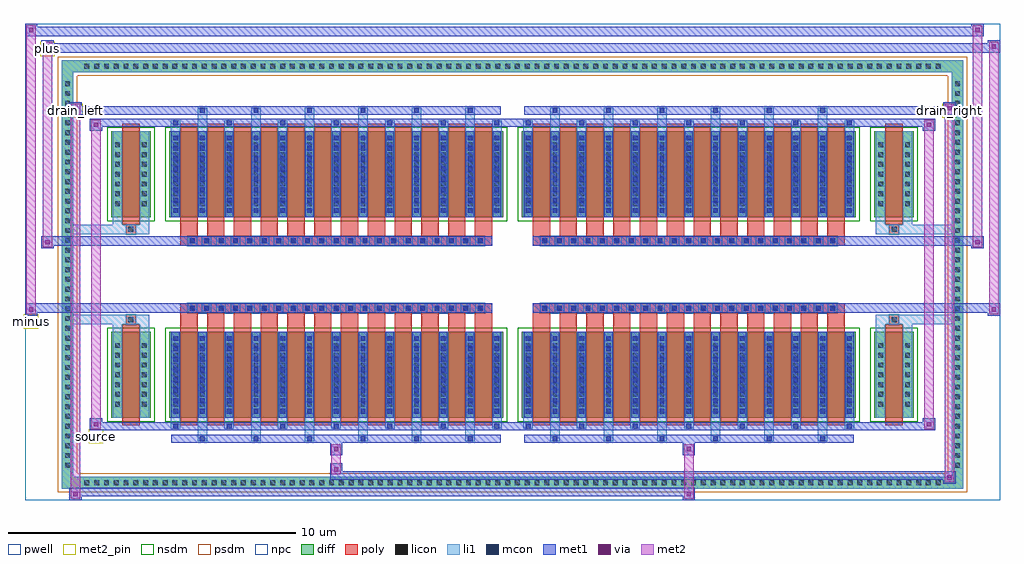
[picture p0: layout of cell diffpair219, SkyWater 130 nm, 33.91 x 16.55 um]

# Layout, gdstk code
import gdstk
lib = gdstk.Library(unit=1e-6, precision=5e-09)
def R(c, l, rs):  # rectangles x0, y0, x1, y1
    for r in rs: c.add(gdstk.rectangle(r[:2], r[2:], *l))
def A(c, l, x, y, w, h, nx, ny, dx, dy):  # array of equal rectangles
    R(c, l, [(x+i*dx, y+j*dy, x+i*dx+w, y+j*dy+h) for i in range(nx) for j in range(ny)])
def P(c, l, *ps):  # polygons
    for p in ps: c.add(gdstk.Polygon(p, *l))
pwell = (64, 44)
diff = (65, 20)
poly = (66, 20)
licon = (66, 44)
li1 = (67, 20)
mcon = (67, 44)
met1 = (68, 20)
via = (68, 44)
met2_pin = (69, 16)
met2 = (69, 20)
nsdm = (93, 44)
psdm = (94, 20)
npc = (95, 20)

diffpair219 = lib.new_cell('diffpair219')
R(diffpair219, pwell, [(-16.94,-7.84,16.94,8.71), (-14.26,-6.03,-0.01,-0.805), (0.01,-6.03,14.26,-0.805), (-14.26,0.805,-0.01,6.03), (0.01,0.805,14.26,6.03)])
A(diffpair219, diff, -14.995, -7.44, 0.41, 0.41, 88, 2, 0.34, 14.47)
A(diffpair219, diff, -15.67, -6.835, 0.41, 0.41, 1, 40, 0, 0.34)
A(diffpair219, diff, 15.26, -6.835, 0.41, 0.41, 1, 40, 0, 0.34)
R(diffpair219, diff, [(-14.995,-7.44,14.995,-7.03), (-15.67,-6.835,-15.26,6.835), (15.26,-6.835,15.67,6.835), (-13.95,-4.985,-12.57,-1.985), (-11.93,-4.985,-0.32,-1.985), (0.32,-4.985,11.93,-1.985), (12.57,-4.985,13.95,-1.985), (-13.95,1.985,-12.57,4.985), (-11.93,1.985,-0.32,4.985), (0.32,1.985,11.93,4.985), (12.57,1.985,13.95,4.985), (-14.995,7.03,14.995,7.44)])
P(diffpair219, diff, [(15.67,7.44),(-15.67,7.44),(-15.67,-7.03),(-15.26,-7.03),(-15.26,7.03),(15.26,7.03),(15.26,-7.03),(-15.26,-7.03),(-15.67,-7.03),(-15.67,-7.44),(15.67,-7.44)])
A(diffpair219, poly, -11.54, -5.235, 0.6, 3.5, 12, 2, 0.93, 6.97)
A(diffpair219, poly, 0.71, -5.235, 0.6, 3.5, 12, 2, 0.93, 6.97)
A(diffpair219, poly, -11.54, -1.735, 0.6, 0.4, 12, 2, 0.93, 3.07)
A(diffpair219, poly, 0.71, -1.735, 0.6, 0.4, 12, 2, 0.93, 3.07)
A(diffpair219, poly, -11.29, -1.335, 0.33, 0.33, 21, 2, 0.5, 2.34)
A(diffpair219, poly, 0.96, -1.335, 0.33, 0.33, 21, 2, 0.5, 2.34)
R(diffpair219, poly, [(-13.56,-5.235,-12.96,-1.735), (12.96,-5.235,13.56,-1.735), (-13.425,-1.735,-13.095,-1.405), (-13.425,-1.735,-13.095,-1.405), (13.095,-1.735,13.425,-1.405), (13.095,-1.735,13.425,-1.405), (-11.54,-1.335,-0.71,-1.005), (0.71,-1.335,11.54,-1.005), (-11.54,1.005,-0.71,1.335), (0.71,1.005,11.54,1.335), (-13.425,1.405,-13.095,1.735), (-13.425,1.405,-13.095,1.735), (13.095,1.405,13.425,1.735), (13.095,1.405,13.425,1.735), (-13.56,1.735,-12.96,5.235), (12.96,1.735,13.56,5.235)])
A(diffpair219, licon, -14.875, -7.32, 0.17, 0.17, 88, 2, 0.34, 14.47)
A(diffpair219, licon, -15.55, -6.715, 0.17, 0.17, 1, 40, 0, 0.34)
A(diffpair219, licon, 15.38, -6.715, 0.17, 0.17, 1, 40, 0, 0.34)
A(diffpair219, licon, -13.81, -4.59, 0.17, 0.17, 1, 7, 0, 0.34)
A(diffpair219, licon, -12.88, -4.59, 0.17, 0.17, 1, 7, 0, 0.34)
A(diffpair219, licon, -11.79, -4.59, 0.17, 0.17, 13, 7, 0.93, 0.34)
A(diffpair219, licon, 0.46, -4.59, 0.17, 0.17, 13, 7, 0.93, 0.34)
A(diffpair219, licon, 12.71, -4.59, 0.17, 0.17, 1, 7, 0, 0.34)
A(diffpair219, licon, 13.64, -4.59, 0.17, 0.17, 1, 7, 0, 0.34)
A(diffpair219, licon, -11.21, -1.255, 0.17, 0.17, 21, 2, 0.5, 2.34)
A(diffpair219, licon, 1.04, -1.255, 0.17, 0.17, 21, 2, 0.5, 2.34)
A(diffpair219, licon, -13.81, 2.38, 0.17, 0.17, 1, 7, 0, 0.34)
A(diffpair219, licon, -12.88, 2.38, 0.17, 0.17, 1, 7, 0, 0.34)
A(diffpair219, licon, -11.79, 2.38, 0.17, 0.17, 13, 7, 0.93, 0.34)
A(diffpair219, licon, 0.46, 2.38, 0.17, 0.17, 13, 7, 0.93, 0.34)
A(diffpair219, licon, 12.71, 2.38, 0.17, 0.17, 1, 7, 0, 0.34)
A(diffpair219, licon, 13.64, 2.38, 0.17, 0.17, 1, 7, 0, 0.34)
R(diffpair219, licon, [(-13.345,-1.655,-13.175,-1.485), (13.175,-1.655,13.345,-1.485), (-13.345,1.485,-13.175,1.655), (13.175,1.485,13.345,1.655)])
A(diffpair219, li1, -14.955, -7.4, 0.33, 0.33, 88, 2, 0.34, 14.47)
A(diffpair219, li1, -15.63, -6.795, 0.33, 0.33, 1, 40, 0, 0.34)
A(diffpair219, li1, 15.3, -6.795, 0.33, 0.33, 1, 40, 0, 0.34)
A(diffpair219, li1, -10.94, -5.79, 0.33, 0.805, 6, 2, 1.86, 10.775)
A(diffpair219, li1, -10.86, -5.79, 0.17, 0.17, 6, 2, 1.86, 11.41)
A(diffpair219, li1, 1.31, -5.79, 0.33, 0.805, 6, 2, 1.86, 10.775)
A(diffpair219, li1, 1.39, -5.79, 0.17, 0.17, 6, 2, 1.86, 11.41)
A(diffpair219, li1, -11.87, -5.36, 0.33, 0.375, 7, 2, 1.86, 10.345)
A(diffpair219, li1, -11.79, -5.36, 0.17, 0.17, 7, 2, 1.86, 10.55)
A(diffpair219, li1, 0.38, -5.36, 0.33, 0.375, 7, 2, 1.86, 10.345)
A(diffpair219, li1, 0.46, -5.36, 0.17, 0.17, 7, 2, 1.86, 10.55)
A(diffpair219, li1, -11.87, -4.985, 0.33, 3, 13, 2, 0.93, 6.97)
A(diffpair219, li1, 0.38, -4.985, 0.33, 3, 13, 2, 0.93, 6.97)
A(diffpair219, li1, -11.79, -4.83, 0.17, 0.17, 13, 8, 0.93, 0.36)
A(diffpair219, li1, -11.79, -4.83, 0.17, 2.69, 13, 2, 0.93, 6.97)
A(diffpair219, li1, 0.46, -4.83, 0.17, 0.17, 13, 8, 0.93, 0.36)
A(diffpair219, li1, 0.46, -4.83, 0.17, 2.69, 13, 2, 0.93, 6.97)
A(diffpair219, li1, -13.89, -4.67, 0.33, 0.33, 1, 7, 0, 0.34)
A(diffpair219, li1, -12.96, -4.67, 0.33, 0.33, 1, 7, 0, 0.34)
A(diffpair219, li1, -11.87, -4.67, 0.33, 0.33, 13, 7, 0.93, 0.34)
A(diffpair219, li1, 0.38, -4.67, 0.33, 0.33, 13, 7, 0.93, 0.34)
A(diffpair219, li1, 12.63, -4.67, 0.33, 0.33, 1, 7, 0, 0.34)
A(diffpair219, li1, 13.56, -4.67, 0.33, 0.33, 1, 7, 0, 0.34)
A(diffpair219, li1, -11.29, -1.335, 0.33, 0.33, 21, 2, 0.5, 2.34)
A(diffpair219, li1, 0.96, -1.335, 0.33, 0.33, 21, 2, 0.5, 2.34)
A(diffpair219, li1, -11.79, 2.14, 0.17, 0.17, 13, 8, 0.93, 0.36)
A(diffpair219, li1, 0.46, 2.14, 0.17, 0.17, 13, 8, 0.93, 0.36)
A(diffpair219, li1, -13.89, 2.3, 0.33, 0.33, 1, 7, 0, 0.34)
A(diffpair219, li1, -12.96, 2.3, 0.33, 0.33, 1, 7, 0, 0.34)
A(diffpair219, li1, -11.87, 2.3, 0.33, 0.33, 13, 7, 0.93, 0.34)
A(diffpair219, li1, 0.38, 2.3, 0.33, 0.33, 13, 7, 0.93, 0.34)
A(diffpair219, li1, 12.63, 2.3, 0.33, 0.33, 1, 7, 0, 0.34)
A(diffpair219, li1, 13.56, 2.3, 0.33, 0.33, 1, 7, 0, 0.34)
R(diffpair219, li1, [(-15.67,-7.44,-15.26,-7.03), (-15.67,-7.44,-15.26,-7.03), (-15.26,-7.44,15.26,-7.03), (15.26,-7.44,15.67,-7.03), (15.26,-7.44,15.67,-7.03), (-15.67,-7.03,-15.26,7.03), (15.26,-7.03,15.67,7.03), (-13.89,-4.985,-13.56,-1.985), (-12.96,-4.985,-12.63,-1.985), (12.63,-4.985,12.96,-1.985), (13.56,-4.985,13.89,-1.985), (-13.89,-1.985,-13.56,-1.405), (-12.96,-1.985,-12.63,-1.405), (12.63,-1.985,12.96,-1.405), (13.56,-1.985,13.89,-1.405), (-15.67,-1.735,-13.425,-1.405), (-13.89,-1.735,-13.425,-1.405), (-13.425,-1.735,-13.095,-1.405), (-13.095,-1.735,-12.63,-1.405), (12.63,-1.735,13.095,-1.405), (13.095,-1.735,13.425,-1.405), (13.095,-1.735,15.67,-1.405), (13.425,-1.735,13.89,-1.405), (-15.67,1.405,-13.425,1.735), (-13.89,1.405,-13.425,1.735), (-13.89,1.405,-13.56,1.985), (-13.425,1.405,-13.095,1.735), (-13.095,1.405,-12.63,1.735), (-12.96,1.405,-12.63,1.985), (12.63,1.405,13.095,1.735), (12.63,1.405,12.96,1.985), (13.095,1.405,13.425,1.735), (13.095,1.405,15.67,1.735), (13.425,1.405,13.89,1.735), (13.56,1.405,13.89,1.985), (-13.89,1.985,-13.56,4.985), (-12.96,1.985,-12.63,4.985), (12.63,1.985,12.96,4.985), (13.56,1.985,13.89,4.985), (-15.67,7.03,-15.26,7.44), (-15.67,7.03,-15.26,7.44), (-15.26,7.03,15.26,7.44), (15.26,7.03,15.67,7.44), (15.26,7.03,15.67,7.44)])
A(diffpair219, mcon, -10.86, -5.79, 0.17, 0.17, 6, 2, 1.86, 11.41)
A(diffpair219, mcon, 1.39, -5.79, 0.17, 0.17, 6, 2, 1.86, 11.41)
A(diffpair219, mcon, -11.79, -5.36, 0.17, 0.17, 7, 2, 1.86, 10.55)
A(diffpair219, mcon, 0.46, -5.36, 0.17, 0.17, 7, 2, 1.86, 10.55)
A(diffpair219, mcon, -11.79, -4.83, 0.17, 0.17, 13, 8, 0.93, 0.36)
A(diffpair219, mcon, 0.46, -4.83, 0.17, 0.17, 13, 8, 0.93, 0.36)
A(diffpair219, mcon, -11.21, -1.255, 0.17, 0.17, 21, 2, 0.5, 2.34)
A(diffpair219, mcon, 1.04, -1.255, 0.17, 0.17, 21, 2, 0.5, 2.34)
A(diffpair219, mcon, -11.79, 2.14, 0.17, 0.17, 13, 8, 0.93, 0.36)
A(diffpair219, mcon, 0.46, 2.14, 0.17, 0.17, 13, 8, 0.93, 0.36)
A(diffpair219, met1, -10.92, -5.85, 0.29, 0.29, 6, 2, 1.86, 11.41)
A(diffpair219, met1, 1.33, -5.85, 0.29, 0.29, 6, 2, 1.86, 11.41)
A(diffpair219, met1, -11.85, -5.42, 0.29, 0.29, 7, 2, 1.86, 10.55)
A(diffpair219, met1, 0.4, -5.42, 0.29, 0.29, 7, 2, 1.86, 10.55)
A(diffpair219, met1, -11.85, -4.985, 0.29, 3, 13, 2, 0.93, 6.97)
A(diffpair219, met1, 0.4, -4.985, 0.29, 3, 13, 2, 0.93, 6.97)
A(diffpair219, met1, -11.85, -4.89, 0.29, 0.29, 13, 8, 0.93, 0.36)
A(diffpair219, met1, 0.4, -4.89, 0.29, 0.29, 13, 8, 0.93, 0.36)
A(diffpair219, met1, -11.27, -1.315, 0.29, 0.29, 21, 2, 0.5, 2.34)
A(diffpair219, met1, 0.98, -1.315, 0.29, 0.29, 21, 2, 0.5, 2.34)
A(diffpair219, met1, -11.85, 2.08, 0.29, 0.29, 13, 8, 0.93, 0.36)
A(diffpair219, met1, 0.4, 2.08, 0.29, 0.29, 13, 8, 0.93, 0.36)
R(diffpair219, met1, [(-15.4,-7.84,-14.97,-7.41), (5.91,-7.84,6.34,-7.41), (-15.4,-7.7,6.34,-7.41), (14.97,-7.27,15.4,-6.84), (-6.34,-7.13,15.4,-6.84), (-6.34,-6.99,-5.91,-6.56), (-6.34,-6.28,-5.91,-5.85), (5.91,-6.28,6.34,-5.85), (-11.85,-5.85,-0.4,-5.56), (0.4,-5.85,11.85,-5.56), (-14.69,-5.42,-14.26,-4.99), (-14.69,-5.42,-11.85,-5.13), (-11.85,-5.42,-0.4,-5.13), (-0.4,-5.42,0.4,-5.13), (0.4,-5.42,11.85,-5.13), (11.85,-5.42,14.69,-5.13), (14.26,-5.42,14.69,-4.99), (-16.94,-1.435,-16.51,-1.005), (16.51,-1.435,16.94,-1.005), (-16.94,-1.335,-0.71,-1.005), (-11.54,-1.335,-0.71,-1.005), (0.71,-1.335,11.54,-1.005), (0.71,-1.335,16.94,-1.005), (-16.37,0.905,-15.94,1.335), (15.94,0.905,16.37,1.335), (-16.37,1.005,-11.54,1.335), (-11.54,1.005,-0.71,1.335), (0.71,1.005,11.54,1.335), (11.54,1.005,16.37,1.335), (-14.69,4.99,-14.26,5.42), (14.26,4.99,14.69,5.42), (-14.69,5.13,-11.85,5.42), (-11.85,5.13,-0.4,5.42), (-0.4,5.13,0.4,5.42), (0.4,5.13,11.85,5.42), (11.85,5.13,14.69,5.42), (-15.4,5.56,-14.97,5.99), (-15.4,5.56,-11.85,5.85), (-11.85,5.56,-0.4,5.85), (0.4,5.56,11.85,5.85), (11.85,5.56,15.4,5.85), (14.97,5.56,15.4,5.99), (-16.37,7.71,-15.94,8.14), (-16.37,7.71,-14.26,8.04), (-14.26,7.71,14.26,8.04), (14.26,7.71,16.94,8.04), (16.51,7.71,16.94,8.14), (-16.94,8.28,-16.51,8.71), (-16.94,8.28,-14.26,8.61), (-14.26,8.28,14.26,8.61), (14.26,8.28,16.37,8.61), (15.94,8.28,16.37,8.71)])
R(diffpair219, via, [(-15.26,-7.7,-15.11,-7.55), (6.05,-7.7,6.2,-7.55), (15.11,-7.13,15.26,-6.98), (-6.2,-6.85,-6.05,-6.7), (-6.2,-6.14,-6.05,-5.99), (6.05,-6.14,6.2,-5.99), (-14.55,-5.28,-14.4,-5.13), (14.4,-5.28,14.55,-5.13), (-16.8,-1.295,-16.65,-1.145), (16.65,-1.295,16.8,-1.145), (-16.23,1.045,-16.08,1.195), (16.08,1.045,16.23,1.195), (-14.55,5.13,-14.4,5.28), (14.4,5.13,14.55,5.28), (-15.26,5.7,-15.11,5.85), (15.11,5.7,15.26,5.85), (-16.23,7.85,-16.08,8), (16.65,7.85,16.8,8), (-16.8,8.42,-16.65,8.57), (16.08,8.42,16.23,8.57)])
R(diffpair219, met2_pin, [(-14.725,-5.87,-14.225,-5.37), (-16.975,-1.885,-16.475,-1.385), (-15.435,5.44,-14.935,5.94), (14.935,5.44,15.435,5.94), (-16.405,7.59,-15.905,8.09)])
R(diffpair219, met2, [(-15.35,-7.79,-15.02,-7.46), (-15.35,-7.79,-15.02,5.94), (5.96,-7.79,6.29,-7.46), (5.96,-7.46,6.29,-6.23), (15.02,-7.22,15.35,-6.89), (15.02,-7.22,15.35,5.94), (-6.29,-6.94,-5.96,-6.61), (-6.29,-6.61,-5.96,-6.23), (-6.29,-6.23,-5.96,-5.9), (5.96,-6.23,6.29,-5.9), (-14.64,-5.37,-14.31,-5.04), (-14.64,-5.37,-14.31,5.37), (14.31,-5.37,14.64,-5.04), (14.31,-5.37,14.64,5.37), (-16.89,-1.385,-16.56,-1.055), (-16.89,-1.385,-16.56,8.66), (16.56,-1.385,16.89,-1.055), (16.56,-1.385,16.89,8.09), (-16.32,0.955,-15.99,1.285), (-16.32,0.955,-15.99,8.09), (15.99,0.955,16.32,1.285), (15.99,0.955,16.32,8.66), (-14.64,5.04,-14.31,5.37), (14.31,5.04,14.64,5.37), (-15.35,5.61,-15.02,5.94), (15.02,5.61,15.35,5.94), (-16.32,7.76,-15.99,8.09), (16.56,7.76,16.89,8.09), (-16.89,8.33,-16.56,8.66), (15.99,8.33,16.32,8.66)])
P(diffpair219, met2, [(16.89,-1.385),(16.89,-1.385),(16.89,-1.055),(16.89,-1.055)],
  [(16.89,7.76),(16.89,7.76),(16.89,8.09),(16.89,8.09)],
  [(-16.56,-1.385),(-16.56,-1.385),(-16.56,-1.055),(-16.56,-1.055)],
  [(-16.56,8.33),(-16.56,8.33),(-16.56,8.66),(-16.56,8.66)],
  [(16.32,0.955),(16.32,0.955),(16.32,1.285),(16.32,1.285)],
  [(16.32,8.33),(16.32,8.33),(16.32,8.66),(16.32,8.66)],
  [(-15.99,0.955),(-15.99,0.955),(-15.99,1.285),(-15.99,1.285)],
  [(-15.99,7.76),(-15.99,7.76),(-15.99,8.09),(-15.99,8.09)],
  [(-15.02,-7.79),(-15.02,-7.79),(-15.02,-7.46),(-15.02,-7.46)],
  [(-15.02,5.61),(-15.02,5.61),(-15.02,5.94),(-15.02,5.94)],
  [(15.35,-7.22),(15.35,-7.22),(15.35,-6.89),(15.35,-6.89)],
  [(15.35,5.61),(15.35,5.61),(15.35,5.94),(15.35,5.94)],
  [(-14.31,-5.37),(-14.31,-5.37),(-14.31,-5.04),(-14.31,-5.04)],
  [(-14.31,5.04),(-14.31,5.04),(-14.31,5.37),(-14.31,5.37)],
  [(14.64,-5.37),(14.64,-5.37),(14.64,-5.04),(14.64,-5.04)],
  [(14.64,5.04),(14.64,5.04),(14.64,5.37),(14.64,5.37)])
R(diffpair219, nsdm, [(-14.08,-5.115,-12.44,-1.855), (-12.06,-5.115,-0.19,-1.855), (0.19,-5.115,12.06,-1.855), (12.44,-5.115,14.08,-1.855), (-14.08,1.855,-12.44,5.115), (-12.06,1.855,-0.19,5.115), (0.19,1.855,12.06,5.115), (12.44,1.855,14.08,5.115)])
P(diffpair219, psdm, [(15.8,7.57),(-15.8,7.57),(-15.8,-6.9),(-15.13,-6.9),(-15.13,6.9),(15.13,6.9),(15.13,-6.9),(-15.13,-6.9),(-15.8,-6.9),(-15.8,-7.57),(15.8,-7.57)])
A(diffpair219, npc, -11.31, -1.355, 0.37, 0.37, 21, 2, 0.5, 2.34)
A(diffpair219, npc, 0.94, -1.355, 0.37, 0.37, 21, 2, 0.5, 2.34)
R(diffpair219, npc, [(-13.445,-1.755,-13.075,-1.385), (13.075,-1.755,13.445,-1.385), (-11.31,-1.355,-10.44,-0.985), (-11.31,-1.355,-10.44,-0.985), (-10.81,-1.355,-9.94,-0.985), (-10.81,-1.355,-9.94,-0.985), (-10.31,-1.355,-9.44,-0.985), (-10.31,-1.355,-9.44,-0.985), (-9.81,-1.355,-8.94,-0.985), (-9.81,-1.355,-8.94,-0.985), (-9.31,-1.355,-8.44,-0.985), (-9.31,-1.355,-8.44,-0.985), (-8.81,-1.355,-7.94,-0.985), (-8.81,-1.355,-7.94,-0.985), (-8.31,-1.355,-7.44,-0.985), (-8.31,-1.355,-7.44,-0.985), (-7.81,-1.355,-6.94,-0.985), (-7.81,-1.355,-6.94,-0.985), (-7.31,-1.355,-6.44,-0.985), (-7.31,-1.355,-6.44,-0.985), (-6.81,-1.355,-5.94,-0.985), (-6.81,-1.355,-5.94,-0.985), (-6.31,-1.355,-5.44,-0.985), (-6.31,-1.355,-5.44,-0.985), (-5.81,-1.355,-4.94,-0.985), (-5.81,-1.355,-4.94,-0.985), (-5.31,-1.355,-4.44,-0.985), (-5.31,-1.355,-4.44,-0.985), (-4.81,-1.355,-3.94,-0.985), (-4.81,-1.355,-3.94,-0.985), (-4.31,-1.355,-3.44,-0.985), (-4.31,-1.355,-3.44,-0.985), (-3.81,-1.355,-2.94,-0.985), (-3.81,-1.355,-2.94,-0.985), (-3.31,-1.355,-2.44,-0.985), (-3.31,-1.355,-2.44,-0.985), (-2.81,-1.355,-1.94,-0.985), (-2.81,-1.355,-1.94,-0.985), (-2.31,-1.355,-1.44,-0.985), (-2.31,-1.355,-1.44,-0.985), (-1.81,-1.355,-0.94,-0.985), (-1.81,-1.355,-0.94,-0.985), (0.94,-1.355,1.81,-0.985), (0.94,-1.355,1.81,-0.985), (1.44,-1.355,2.31,-0.985), (1.44,-1.355,2.31,-0.985), (1.94,-1.355,2.81,-0.985), (1.94,-1.355,2.81,-0.985), (2.44,-1.355,3.31,-0.985), (2.44,-1.355,3.31,-0.985), (2.94,-1.355,3.81,-0.985), (2.94,-1.355,3.81,-0.985), (3.44,-1.355,4.31,-0.985), (3.44,-1.355,4.31,-0.985), (3.94,-1.355,4.81,-0.985), (3.94,-1.355,4.81,-0.985), (4.44,-1.355,5.31,-0.985), (4.44,-1.355,5.31,-0.985), (4.94,-1.355,5.81,-0.985), (4.94,-1.355,5.81,-0.985), (5.44,-1.355,6.31,-0.985), (5.44,-1.355,6.31,-0.985), (5.94,-1.355,6.81,-0.985), (5.94,-1.355,6.81,-0.985), (6.44,-1.355,7.31,-0.985), (6.44,-1.355,7.31,-0.985), (6.94,-1.355,7.81,-0.985), (6.94,-1.355,7.81,-0.985), (7.44,-1.355,8.31,-0.985), (7.44,-1.355,8.31,-0.985), (7.94,-1.355,8.81,-0.985), (7.94,-1.355,8.81,-0.985), (8.44,-1.355,9.31,-0.985), (8.44,-1.355,9.31,-0.985), (8.94,-1.355,9.81,-0.985), (8.94,-1.355,9.81,-0.985), (9.44,-1.355,10.31,-0.985), (9.44,-1.355,10.31,-0.985), (9.94,-1.355,10.81,-0.985), (9.94,-1.355,10.81,-0.985), (10.44,-1.355,11.31,-0.985), (10.44,-1.355,11.31,-0.985), (-11.31,0.985,-10.44,1.355), (-11.31,0.985,-10.44,1.355), (-10.81,0.985,-9.94,1.355), (-10.81,0.985,-9.94,1.355), (-10.31,0.985,-9.44,1.355), (-10.31,0.985,-9.44,1.355), (-9.81,0.985,-8.94,1.355), (-9.81,0.985,-8.94,1.355), (-9.31,0.985,-8.44,1.355), (-9.31,0.985,-8.44,1.355), (-8.81,0.985,-7.94,1.355), (-8.81,0.985,-7.94,1.355), (-8.31,0.985,-7.44,1.355), (-8.31,0.985,-7.44,1.355), (-7.81,0.985,-6.94,1.355), (-7.81,0.985,-6.94,1.355), (-7.31,0.985,-6.44,1.355), (-7.31,0.985,-6.44,1.355), (-6.81,0.985,-5.94,1.355), (-6.81,0.985,-5.94,1.355), (-6.31,0.985,-5.44,1.355), (-6.31,0.985,-5.44,1.355), (-5.81,0.985,-4.94,1.355), (-5.81,0.985,-4.94,1.355), (-5.31,0.985,-4.44,1.355), (-5.31,0.985,-4.44,1.355), (-4.81,0.985,-3.94,1.355), (-4.81,0.985,-3.94,1.355), (-4.31,0.985,-3.44,1.355), (-4.31,0.985,-3.44,1.355), (-3.81,0.985,-2.94,1.355), (-3.81,0.985,-2.94,1.355), (-3.31,0.985,-2.44,1.355), (-3.31,0.985,-2.44,1.355), (-2.81,0.985,-1.94,1.355), (-2.81,0.985,-1.94,1.355), (-2.31,0.985,-1.44,1.355), (-2.31,0.985,-1.44,1.355), (-1.81,0.985,-0.94,1.355), (-1.81,0.985,-0.94,1.355), (0.94,0.985,1.81,1.355), (0.94,0.985,1.81,1.355), (1.44,0.985,2.31,1.355), (1.44,0.985,2.31,1.355), (1.94,0.985,2.81,1.355), (1.94,0.985,2.81,1.355), (2.44,0.985,3.31,1.355), (2.44,0.985,3.31,1.355), (2.94,0.985,3.81,1.355), (2.94,0.985,3.81,1.355), (3.44,0.985,4.31,1.355), (3.44,0.985,4.31,1.355), (3.94,0.985,4.81,1.355), (3.94,0.985,4.81,1.355), (4.44,0.985,5.31,1.355), (4.44,0.985,5.31,1.355), (4.94,0.985,5.81,1.355), (4.94,0.985,5.81,1.355), (5.44,0.985,6.31,1.355), (5.44,0.985,6.31,1.355), (5.94,0.985,6.81,1.355), (5.94,0.985,6.81,1.355), (6.44,0.985,7.31,1.355), (6.44,0.985,7.31,1.355), (6.94,0.985,7.81,1.355), (6.94,0.985,7.81,1.355), (7.44,0.985,8.31,1.355), (7.44,0.985,8.31,1.355), (7.94,0.985,8.81,1.355), (7.94,0.985,8.81,1.355), (8.44,0.985,9.31,1.355), (8.44,0.985,9.31,1.355), (8.94,0.985,9.81,1.355), (8.94,0.985,9.81,1.355), (9.44,0.985,10.31,1.355), (9.44,0.985,10.31,1.355), (9.94,0.985,10.81,1.355), (9.94,0.985,10.81,1.355), (10.44,0.985,11.31,1.355), (10.44,0.985,11.31,1.355), (-13.445,1.385,-13.075,1.755), (13.075,1.385,13.445,1.755)])
diffpair219.add(gdstk.Label('minus', (-16.725,-1.635), layer=69, texttype=5))
diffpair219.add(gdstk.Label('drain_right', (15.185,5.69), layer=69, texttype=5))
diffpair219.add(gdstk.Label('drain_left', (-15.185,5.69), layer=69, texttype=5))
diffpair219.add(gdstk.Label('source', (-14.475,-5.62), layer=69, texttype=5))
diffpair219.add(gdstk.Label('plus', (-16.155,7.84), layer=69, texttype=5))

lib.write_gds('diffpair219.gds')
